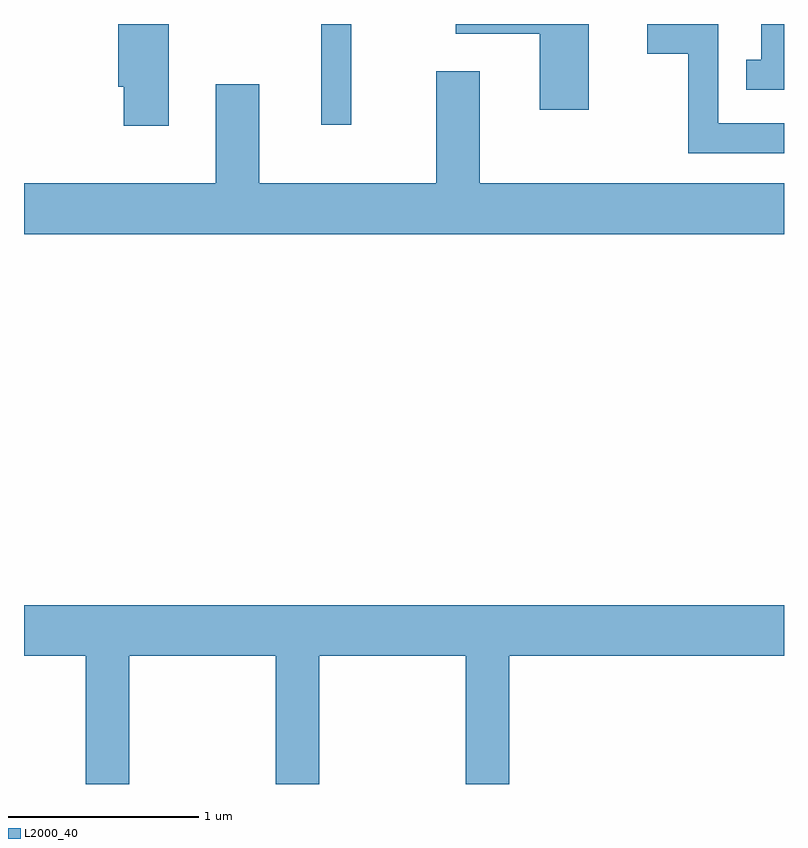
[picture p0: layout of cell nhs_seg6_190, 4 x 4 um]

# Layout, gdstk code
import gdstk
lib = gdstk.Library(unit=1e-6, precision=1e-09)
def R(c, l, rs):  # rectangles x0, y0, x1, y1
    for r in rs: c.add(gdstk.rectangle(r[:2], r[2:], *l))
def P(c, l, *ps):  # polygons
    for p in ps: c.add(gdstk.Polygon(p, *l))
L2000_40 = (2000, 40)

nhs_seg6_190 = lib.new_cell('nhs_seg6_190')
R(nhs_seg6_190, L2000_40, [(191.176,1641.633,191.334,1642.162)])
P(nhs_seg6_190, L2000_40, [(190.374,1642.162),(190.106,1642.162),(190.106,1641.831),(190.136,1641.831),(190.136,1641.626),(190.374,1641.626)],
  [(193.611,1641.639),(193.264,1641.639),(193.264,1642.162),(192.891,1642.162),(192.891,1642.006),(193.106,1642.006),(193.106,1641.481),(193.611,1641.481)],
  [(193.611,1642.162),(193.491,1642.162),(193.491,1641.974),(193.413,1641.974),(193.413,1641.816),(193.611,1641.816)],
  [(192.584,1642.162),(191.883,1642.162),(191.883,1642.111),(192.326,1642.111),(192.326,1641.711),(192.584,1641.711)],
  [(193.611,1641.324),(192.009,1641.324),(192.009,1641.914),(191.781,1641.914),(191.781,1641.324),(190.849,1641.324),(190.849,1641.844),(190.621,1641.844),(190.621,1641.324),(189.611,1641.324),(189.611,1641.056),(193.611,1641.056)],
  [(190.164,1638.836),(190.936,1638.836),(190.936,1638.162),(191.164,1638.162),(191.164,1638.836),(191.936,1638.836),(191.936,1638.162),(192.164,1638.162),(192.164,1638.836),(193.611,1638.836),(193.611,1639.104),(189.611,1639.104),(189.611,1638.836),(189.936,1638.836),(189.936,1638.162),(190.164,1638.162)])

lib.write_gds('nhs_seg6_190.gds')
